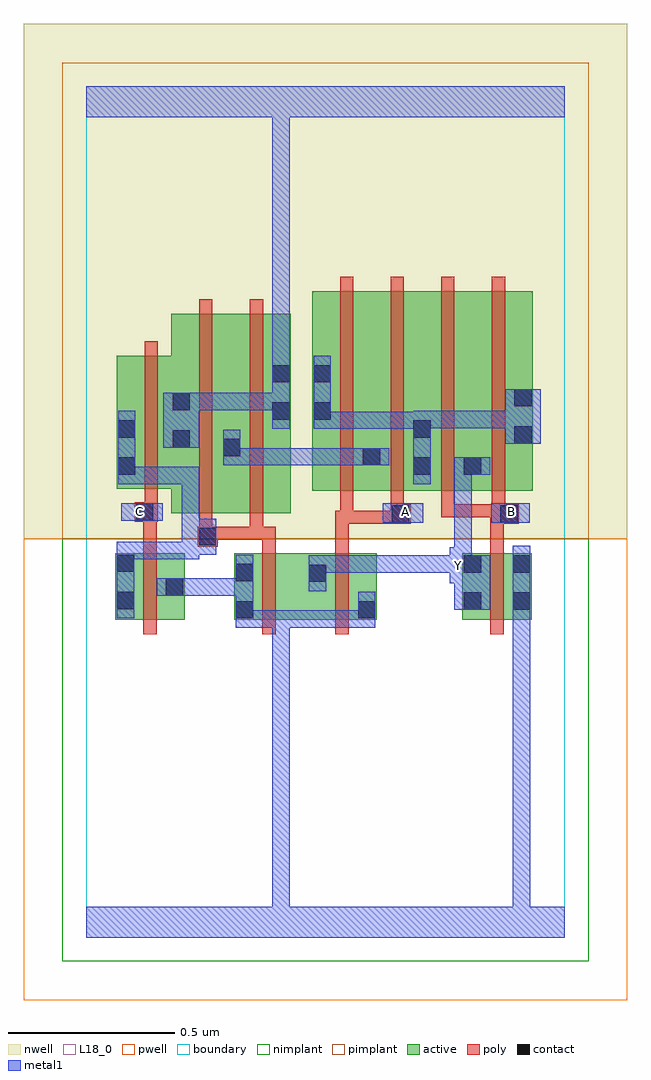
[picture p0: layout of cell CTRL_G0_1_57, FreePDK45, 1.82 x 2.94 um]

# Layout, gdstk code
import gdstk
lib = gdstk.Library(unit=1e-6, precision=1e-09)
def R(c, l, rs):  # rectangles x0, y0, x1, y1
    for r in rs: c.add(gdstk.rectangle(r[:2], r[2:], *l))
def A(c, l, x, y, w, h, nx, ny, dx, dy):  # array of equal rectangles
    R(c, l, [(x+i*dx, y+j*dy, x+i*dx+w, y+j*dy+h) for i in range(nx) for j in range(ny)])
active = (1, 0)
pwell = (2, 0)
nwell = (3, 0)
nimplant = (4, 0)
pimplant = (5, 0)
poly = (9, 0)
contact = (10, 0)
metal1 = (11, 0)
L18_0 = (18, 0)
boundary = (235, 0)

ctrl_g0_1_57 = lib.new_cell('CTRL_G0_1_57')
A(ctrl_g0_1_57, active, 0.828, 1.344, 0.06, 0.5, 4, 1, 0.152, 0)
A(ctrl_g0_1_57, active, 0.828, 1.344, 0.212, 0.6, 3, 1, 0.152, 0)
R(ctrl_g0_1_57, active, [(0.088,0.956,0.148,1.156), (0.088,0.956,0.296,1.156), (0.236,0.956,0.296,1.156), (0.446,0.956,0.506,1.156), (0.446,0.956,0.726,1.156), (0.666,0.956,0.726,1.156), (0.666,0.956,0.874,1.156), (0.814,0.956,0.874,1.156), (1.132,0.956,1.192,1.156), (1.132,0.956,1.34,1.156), (1.28,0.956,1.34,1.156), (0.256,1.276,0.468,1.876), (0.408,1.276,0.616,1.876), (0.408,1.276,0.468,1.844), (0.556,1.276,0.616,1.844), (0.68,1.344,0.74,1.844), (0.68,1.344,0.888,1.944), (0.092,1.35,0.152,1.644), (0.092,1.35,0.316,1.75), (0.256,1.35,0.316,1.644)])
R(ctrl_g0_1_57, pwell, [(-0.188,-0.188,1.628,1.2)])
R(ctrl_g0_1_57, nwell, [(-0.188,1.2,1.628,2.748)])
R(ctrl_g0_1_57, nimplant, [(-0.072,-0.072,1.512,1.2)])
R(ctrl_g0_1_57, pimplant, [(-0.072,1.2,1.512,2.632)])
A(ctrl_g0_1_57, poly, 0.916, 1.264, 0.04, 0.076, 3, 1, 0.152, 0)
A(ctrl_g0_1_57, poly, 0.764, 1.3, 0.04, 0.688, 4, 1, 0.152, 0)
R(ctrl_g0_1_57, poly, [(0.172,0.912,0.212,1.2), (0.53,0.912,0.57,1.2), (0.75,0.912,0.79,1.2), (1.216,0.912,1.256,1.2), (0.172,1.16,0.212,1.29), (0.53,1.16,0.57,1.236), (0.75,1.16,0.79,1.284), (1.216,1.16,1.256,1.284), (0.336,1.176,0.396,1.236), (0.34,1.196,0.38,1.272), (0.356,1.196,0.396,1.236), (0.356,1.196,0.396,1.236), (0.356,1.196,0.532,1.236), (0.492,1.196,0.532,1.272), (0.492,1.196,0.57,1.236), (0.53,1.196,0.57,1.236), (0.53,1.196,0.57,1.236), (0.34,1.232,0.38,1.92), (0.492,1.232,0.532,1.92), (0.75,1.244,0.804,1.284), (0.764,1.244,0.804,1.284), (0.764,1.244,0.804,1.284), (0.764,1.244,0.956,1.284), (0.764,1.244,0.804,1.34), (0.916,1.244,0.956,1.284), (0.916,1.244,0.956,1.284), (0.916,1.244,0.976,1.304), (1.216,1.244,1.256,1.284), (1.216,1.244,1.256,1.284), (1.216,1.244,1.302,1.304), (0.146,1.25,0.216,1.31), (0.172,1.25,0.212,1.29), (0.172,1.25,0.212,1.29), (1.068,1.264,1.108,1.304), (1.068,1.264,1.256,1.304), (1.216,1.264,1.256,1.304), (1.216,1.264,1.256,1.304), (0.176,1.27,0.216,1.346), (0.176,1.306,0.216,1.794)])
R(ctrl_g0_1_57, contact, [(0.45,0.96,0.502,1.012), (0.818,0.96,0.87,1.012), (1.136,0.986,1.188,1.038), (1.284,0.986,1.336,1.038), (0.092,0.988,0.144,1.04), (0.24,1.028,0.292,1.08), (0.67,1.07,0.722,1.122), (0.45,1.072,0.502,1.124), (1.136,1.098,1.188,1.15), (1.284,1.098,1.336,1.15), (0.092,1.1,0.144,1.152), (0.34,1.18,0.392,1.232), (0.92,1.248,0.972,1.3), (1.246,1.248,1.298,1.3), (0.15,1.254,0.202,1.306), (0.096,1.392,0.148,1.444), (0.984,1.392,1.036,1.444), (1.136,1.392,1.188,1.444), (0.832,1.42,0.884,1.472), (0.412,1.448,0.464,1.5), (0.26,1.474,0.312,1.526), (1.288,1.486,1.34,1.538), (0.096,1.504,0.148,1.556), (0.984,1.504,1.036,1.556), (0.56,1.558,0.612,1.61), (0.684,1.558,0.736,1.61), (0.26,1.586,0.312,1.638), (1.288,1.598,1.34,1.65), (0.56,1.67,0.612,1.722), (0.684,1.67,0.736,1.722)])
R(ctrl_g0_1_57, metal1, [(0,0,1.44,0.092), (0.56,0.04,0.612,0.092), (0.56,0.04,0.612,0.092), (0.56,0.04,0.612,0.092), (0.56,0.04,0.612,0.092), (0.56,0.04,0.612,0.092), (0.56,0.04,0.612,0.092), (0.56,0.04,0.612,0.092), (0.56,0.04,0.612,0.092), (0.56,0.04,0.612,0.092), (0.56,0.04,0.612,0.092), (0.56,0.04,0.612,0.092), (0.56,0.04,0.612,0.092), (0.56,0.04,0.612,0.092), (0.56,0.04,0.612,0.092), (0.56,0.04,0.612,0.984), (1.284,0.04,1.336,0.092), (1.284,0.04,1.336,0.092), (1.284,0.04,1.336,0.092), (1.284,0.04,1.336,0.092), (1.284,0.04,1.336,0.092), (1.284,0.04,1.336,0.092), (1.284,0.04,1.336,0.092), (1.284,0.04,1.336,0.092), (1.284,0.04,1.336,0.092), (1.284,0.04,1.336,0.092), (1.284,0.04,1.336,0.092), (1.284,0.04,1.336,0.092), (1.284,0.04,1.336,0.092), (1.284,0.04,1.336,0.092), (1.284,0.04,1.336,1.01), (0.45,0.932,0.502,1.152), (0.45,0.932,0.612,0.984), (0.56,0.932,0.612,0.984), (0.56,0.932,0.612,0.984), (0.56,0.932,0.612,0.984), (0.56,0.932,0.612,0.984), (0.56,0.932,0.612,0.984), (0.56,0.932,0.612,0.984), (0.56,0.932,0.612,0.984), (0.56,0.932,0.746,0.984), (0.694,0.932,0.746,0.984), (0.694,0.932,0.746,0.984), (0.694,0.932,0.746,0.984), (0.694,0.932,0.87,0.984), (0.818,0.932,0.87,1.04), (1.284,0.958,1.336,1.01), (1.284,0.958,1.336,1.01), (1.284,0.958,1.336,1.178), (0.092,0.96,0.144,1.18), (1.108,0.986,1.216,1.15), (0.212,1.028,0.32,1.08), (0.268,1.028,0.34,1.08), (0.288,1.028,0.34,1.08), (0.288,1.028,0.502,1.08), (0.67,1.042,0.722,1.15), (1.094,1.066,1.16,1.174), (0.67,1.098,0.722,1.15), (0.67,1.098,0.722,1.15), (0.67,1.098,0.926,1.15), (0.874,1.098,0.926,1.15), (0.874,1.098,0.926,1.15), (0.874,1.098,0.926,1.15), (0.874,1.098,1.036,1.15), (0.984,1.098,1.036,1.15), (0.984,1.098,1.036,1.15), (0.984,1.098,1.036,1.15), (0.984,1.098,1.16,1.15), (1.108,1.098,1.16,1.15), (1.108,1.122,1.16,1.174), (1.108,1.122,1.16,1.174), (1.108,1.122,1.16,1.444), (0.092,1.128,0.144,1.19), (0.092,1.138,0.144,1.19), (0.092,1.138,0.144,1.19), (0.092,1.138,0.144,1.19), (0.092,1.138,0.34,1.19), (0.288,1.138,0.34,1.19), (0.288,1.138,0.34,1.19), (0.288,1.138,0.34,1.204), (0.288,1.152,0.392,1.204), (0.288,1.152,0.34,1.416), (0.34,1.152,0.392,1.26), (0.892,1.248,1.014,1.306), (1.218,1.248,1.334,1.306), (0.106,1.254,0.23,1.306), (0.096,1.364,0.148,1.416), (0.096,1.364,0.148,1.416), (0.096,1.364,0.148,1.584), (0.096,1.364,0.34,1.416), (0.288,1.364,0.34,1.416), (0.984,1.364,1.036,1.584), (1.108,1.392,1.216,1.444), (0.412,1.42,0.464,1.472), (0.412,1.42,0.464,1.472), (0.412,1.42,0.464,1.528), (0.412,1.42,0.612,1.472), (0.56,1.42,0.612,1.472), (0.56,1.42,0.746,1.472), (0.694,1.42,0.746,1.472), (0.694,1.42,0.746,1.472), (0.694,1.42,0.746,1.472), (0.694,1.42,0.856,1.472), (0.804,1.42,0.912,1.472), (0.232,1.474,0.34,1.638), (1.26,1.486,1.368,1.65), (0.56,1.53,0.612,1.75), (0.684,1.53,0.736,1.582), (0.684,1.53,0.736,1.582), (0.684,1.53,0.736,1.75), (0.684,1.53,0.926,1.582), (0.874,1.53,0.926,1.582), (0.874,1.53,0.926,1.582), (0.874,1.53,0.926,1.582), (0.874,1.53,1.036,1.582), (0.984,1.532,1.036,1.584), (0.984,1.532,1.036,1.584), (0.984,1.532,1.202,1.584), (1.15,1.532,1.202,1.584), (1.15,1.532,1.312,1.584), (1.26,1.532,1.312,1.584), (1.26,1.532,1.312,1.584), (0.288,1.586,0.34,1.638), (0.288,1.586,0.34,1.638), (0.288,1.586,0.45,1.638), (0.398,1.586,0.45,1.638), (0.398,1.586,0.45,1.638), (0.398,1.586,0.45,1.638), (0.398,1.586,0.612,1.638), (0.56,1.698,0.612,1.75), (0.56,1.698,0.612,1.75), (0.56,1.698,0.612,2.52), (0,2.468,1.44,2.56), (0.56,2.468,0.612,2.52), (0.56,2.468,0.612,2.52), (0.56,2.468,0.612,2.52), (0.56,2.468,0.612,2.52), (0.56,2.468,0.612,2.52), (0.56,2.468,0.612,2.52), (0.56,2.468,0.612,2.52), (0.56,2.468,0.612,2.52), (0.56,2.468,0.612,2.52), (0.56,2.468,0.612,2.52)])
R(ctrl_g0_1_57, L18_0, [(0,0,1.44,0.092), (0.56,0.04,0.612,0.092), (0.56,0.04,0.612,0.092), (0.56,0.04,0.612,0.092), (0.56,0.04,0.612,0.092), (0.56,0.04,0.612,0.092), (0.56,0.04,0.612,0.092), (0.56,0.04,0.612,0.092), (0.56,0.04,0.612,0.092), (0.56,0.04,0.612,0.092), (0.56,0.04,0.612,0.092), (0.56,0.04,0.612,0.092), (0.56,0.04,0.612,0.092), (0.56,0.04,0.612,0.092), (0.56,0.04,0.612,0.092), (0.56,0.04,0.612,0.984), (1.284,0.04,1.336,0.092), (1.284,0.04,1.336,0.092), (1.284,0.04,1.336,0.092), (1.284,0.04,1.336,0.092), (1.284,0.04,1.336,0.092), (1.284,0.04,1.336,0.092), (1.284,0.04,1.336,0.092), (1.284,0.04,1.336,0.092), (1.284,0.04,1.336,0.092), (1.284,0.04,1.336,0.092), (1.284,0.04,1.336,0.092), (1.284,0.04,1.336,0.092), (1.284,0.04,1.336,0.092), (1.284,0.04,1.336,0.092), (1.284,0.04,1.336,1.01), (0.45,0.932,0.502,1.152), (0.45,0.932,0.612,0.984), (0.56,0.932,0.612,0.984), (0.56,0.932,0.612,0.984), (0.56,0.932,0.612,0.984), (0.56,0.932,0.612,0.984), (0.56,0.932,0.612,0.984), (0.56,0.932,0.612,0.984), (0.56,0.932,0.612,0.984), (0.56,0.932,0.746,0.984), (0.694,0.932,0.746,0.984), (0.694,0.932,0.746,0.984), (0.694,0.932,0.746,0.984), (0.694,0.932,0.87,0.984), (0.818,0.932,0.87,1.04), (1.284,0.958,1.336,1.01), (1.284,0.958,1.336,1.01), (1.284,0.958,1.336,1.178), (1.108,0.986,1.216,1.15), (0.212,1.028,0.32,1.08), (0.268,1.028,0.34,1.08), (0.288,1.028,0.34,1.08), (0.288,1.028,0.502,1.08), (0.67,1.042,0.722,1.15), (1.094,1.066,1.16,1.174), (1.094,1.094,1.146,1.146), (0.67,1.098,0.722,1.15), (0.67,1.098,0.722,1.15), (0.67,1.098,0.926,1.15), (0.874,1.098,0.926,1.15), (0.874,1.098,0.926,1.15), (0.874,1.098,0.926,1.15), (0.874,1.098,1.036,1.15), (0.984,1.098,1.036,1.15), (0.984,1.098,1.036,1.15), (0.984,1.098,1.036,1.15), (0.984,1.098,1.16,1.15), (1.108,1.098,1.16,1.15), (1.108,1.122,1.16,1.174), (1.108,1.122,1.16,1.174), (1.108,1.122,1.16,1.444), (0.892,1.248,1.014,1.306), (1.218,1.248,1.334,1.306), (0.106,1.254,0.23,1.306), (0.134,1.254,0.186,1.306), (0.934,1.254,0.986,1.306), (1.254,1.254,1.306,1.306), (1.108,1.392,1.216,1.444), (0.232,1.474,0.34,1.638), (0.56,1.53,0.612,1.75), (0.288,1.586,0.34,1.638), (0.288,1.586,0.34,1.638), (0.288,1.586,0.45,1.638), (0.398,1.586,0.45,1.638), (0.398,1.586,0.45,1.638), (0.398,1.586,0.45,1.638), (0.398,1.586,0.612,1.638), (0.56,1.698,0.612,1.75), (0.56,1.698,0.612,1.75), (0.56,1.698,0.612,2.52), (0,2.468,1.44,2.56), (0.56,2.468,0.612,2.52), (0.56,2.468,0.612,2.52), (0.56,2.468,0.612,2.52), (0.56,2.468,0.612,2.52), (0.56,2.468,0.612,2.52), (0.56,2.468,0.612,2.52), (0.56,2.468,0.612,2.52), (0.56,2.468,0.612,2.52), (0.56,2.468,0.612,2.52), (0.56,2.468,0.612,2.52)])
R(ctrl_g0_1_57, boundary, [(0,0,1.44,2.56)])
ctrl_g0_1_57.add(gdstk.Label('A', (0.96,1.28), layer=11, texttype=0))
ctrl_g0_1_57.add(gdstk.Label('B', (1.28,1.28), layer=11, texttype=0))
ctrl_g0_1_57.add(gdstk.Label('C', (0.16,1.28), layer=11, texttype=0))
ctrl_g0_1_57.add(gdstk.Label('Y', (1.12,1.12), layer=11, texttype=0))

lib.write_gds('CTRL_G0_1_57.gds')
